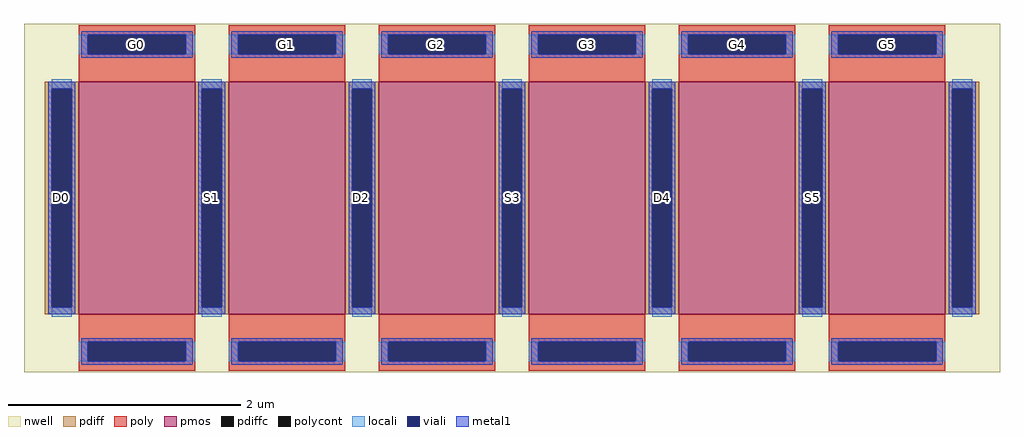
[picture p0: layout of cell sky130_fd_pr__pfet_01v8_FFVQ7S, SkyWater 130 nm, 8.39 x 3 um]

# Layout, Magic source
magic
tech sky130A
magscale 1 2
<< nwell >>
rect -839 -300 839 300
<< pmos >>
rect -745 -200 -545 200
rect -487 -200 -287 200
rect -229 -200 -29 200
rect 29 -200 229 200
rect 287 -200 487 200
rect 545 -200 745 200
<< pdiff >>
rect -803 188 -745 200
rect -803 -188 -791 188
rect -757 -188 -745 188
rect -803 -200 -745 -188
rect -545 188 -487 200
rect -545 -188 -533 188
rect -499 -188 -487 188
rect -545 -200 -487 -188
rect -287 188 -229 200
rect -287 -188 -275 188
rect -241 -188 -229 188
rect -287 -200 -229 -188
rect -29 188 29 200
rect -29 -188 -17 188
rect 17 -188 29 188
rect -29 -200 29 -188
rect 229 188 287 200
rect 229 -188 241 188
rect 275 -188 287 188
rect 229 -200 287 -188
rect 487 188 545 200
rect 487 -188 499 188
rect 533 -188 545 188
rect 487 -200 545 -188
rect 745 188 803 200
rect 745 -188 757 188
rect 791 -188 803 188
rect 745 -200 803 -188
<< pdiffc >>
rect -791 -188 -757 188
rect -533 -188 -499 188
rect -275 -188 -241 188
rect -17 -188 17 188
rect 241 -188 275 188
rect 499 -188 533 188
rect 757 -188 791 188
<< poly >>
rect -745 281 -545 297
rect -745 247 -729 281
rect -561 247 -545 281
rect -745 200 -545 247
rect -487 281 -287 297
rect -487 247 -471 281
rect -303 247 -287 281
rect -487 200 -287 247
rect -229 281 -29 297
rect -229 247 -213 281
rect -45 247 -29 281
rect -229 200 -29 247
rect 29 281 229 297
rect 29 247 45 281
rect 213 247 229 281
rect 29 200 229 247
rect 287 281 487 297
rect 287 247 303 281
rect 471 247 487 281
rect 287 200 487 247
rect 545 281 745 297
rect 545 247 561 281
rect 729 247 745 281
rect 545 200 745 247
rect -745 -247 -545 -200
rect -745 -281 -729 -247
rect -561 -281 -545 -247
rect -745 -297 -545 -281
rect -487 -247 -287 -200
rect -487 -281 -471 -247
rect -303 -281 -287 -247
rect -487 -297 -287 -281
rect -229 -247 -29 -200
rect -229 -281 -213 -247
rect -45 -281 -29 -247
rect -229 -297 -29 -281
rect 29 -247 229 -200
rect 29 -281 45 -247
rect 213 -281 229 -247
rect 29 -297 229 -281
rect 287 -247 487 -200
rect 287 -281 303 -247
rect 471 -281 487 -247
rect 287 -297 487 -281
rect 545 -247 745 -200
rect 545 -281 561 -247
rect 729 -281 745 -247
rect 545 -297 745 -281
<< polycont >>
rect -729 247 -561 281
rect -471 247 -303 281
rect -213 247 -45 281
rect 45 247 213 281
rect 303 247 471 281
rect 561 247 729 281
rect -729 -281 -561 -247
rect -471 -281 -303 -247
rect -213 -281 -45 -247
rect 45 -281 213 -247
rect 303 -281 471 -247
rect 561 -281 729 -247
<< locali >>
rect -745 247 -729 281
rect -561 247 -545 281
rect -487 247 -471 281
rect -303 247 -287 281
rect -229 247 -213 281
rect -45 247 -29 281
rect 29 247 45 281
rect 213 247 229 281
rect 287 247 303 281
rect 471 247 487 281
rect 545 247 561 281
rect 729 247 745 281
rect -791 188 -757 204
rect -791 -204 -757 -188
rect -533 188 -499 204
rect -533 -204 -499 -188
rect -275 188 -241 204
rect -275 -204 -241 -188
rect -17 188 17 204
rect -17 -204 17 -188
rect 241 188 275 204
rect 241 -204 275 -188
rect 499 188 533 204
rect 499 -204 533 -188
rect 757 188 791 204
rect 757 -204 791 -188
rect -745 -281 -729 -247
rect -561 -281 -545 -247
rect -487 -281 -471 -247
rect -303 -281 -287 -247
rect -229 -281 -213 -247
rect -45 -281 -29 -247
rect 29 -281 45 -247
rect 213 -281 229 -247
rect 287 -281 303 -247
rect 471 -281 487 -247
rect 545 -281 561 -247
rect 729 -281 745 -247
<< viali >>
rect -729 247 -561 281
rect -471 247 -303 281
rect -213 247 -45 281
rect 45 247 213 281
rect 303 247 471 281
rect 561 247 729 281
rect -791 -188 -757 188
rect -533 -188 -499 188
rect -275 -188 -241 188
rect -17 -188 17 188
rect 241 -188 275 188
rect 499 -188 533 188
rect 757 -188 791 188
rect -729 -281 -561 -247
rect -471 -281 -303 -247
rect -213 -281 -45 -247
rect 45 -281 213 -247
rect 303 -281 471 -247
rect 561 -281 729 -247
<< metal1 >>
rect -741 281 -549 287
rect -741 247 -729 281
rect -561 247 -549 281
rect -741 241 -549 247
rect -483 281 -291 287
rect -483 247 -471 281
rect -303 247 -291 281
rect -483 241 -291 247
rect -225 281 -33 287
rect -225 247 -213 281
rect -45 247 -33 281
rect -225 241 -33 247
rect 33 281 225 287
rect 33 247 45 281
rect 213 247 225 281
rect 33 241 225 247
rect 291 281 483 287
rect 291 247 303 281
rect 471 247 483 281
rect 291 241 483 247
rect 549 281 741 287
rect 549 247 561 281
rect 729 247 741 281
rect 549 241 741 247
rect -797 188 -751 200
rect -797 -188 -791 188
rect -757 -188 -751 188
rect -797 -200 -751 -188
rect -539 188 -493 200
rect -539 -188 -533 188
rect -499 -188 -493 188
rect -539 -200 -493 -188
rect -281 188 -235 200
rect -281 -188 -275 188
rect -241 -188 -235 188
rect -281 -200 -235 -188
rect -23 188 23 200
rect -23 -188 -17 188
rect 17 -188 23 188
rect -23 -200 23 -188
rect 235 188 281 200
rect 235 -188 241 188
rect 275 -188 281 188
rect 235 -200 281 -188
rect 493 188 539 200
rect 493 -188 499 188
rect 533 -188 539 188
rect 493 -200 539 -188
rect 751 188 797 200
rect 751 -188 757 188
rect 791 -188 797 188
rect 751 -200 797 -188
rect -741 -247 -549 -241
rect -741 -281 -729 -247
rect -561 -281 -549 -247
rect -741 -287 -549 -281
rect -483 -247 -291 -241
rect -483 -281 -471 -247
rect -303 -281 -291 -247
rect -483 -287 -291 -281
rect -225 -247 -33 -241
rect -225 -281 -213 -247
rect -45 -281 -33 -247
rect -225 -287 -33 -281
rect 33 -247 225 -241
rect 33 -281 45 -247
rect 213 -281 225 -247
rect 33 -287 225 -281
rect 291 -247 483 -241
rect 291 -281 303 -247
rect 471 -281 483 -247
rect 291 -287 483 -281
rect 549 -247 741 -241
rect 549 -281 561 -247
rect 729 -281 741 -247
rect 549 -287 741 -281
<< labels >>
rlabel pdiffc -774 0 -774 0 0 D0
port 1 nsew
rlabel polycont -645 264 -645 264 0 G0
port 2 nsew
rlabel pdiffc -516 0 -516 0 0 S1
port 3 nsew
rlabel polycont -387 264 -387 264 0 G1
port 4 nsew
rlabel pdiffc -258 0 -258 0 0 D2
port 5 nsew
rlabel polycont -129 264 -129 264 0 G2
port 6 nsew
rlabel pdiffc 0 0 0 0 0 S3
port 7 nsew
rlabel polycont 129 264 129 264 0 G3
port 8 nsew
rlabel pdiffc 258 0 258 0 0 D4
port 9 nsew
rlabel polycont 387 264 387 264 0 G4
port 10 nsew
rlabel pdiffc 516 0 516 0 0 S5
port 11 nsew
rlabel polycont 645 264 645 264 0 G5
port 12 nsew
<< properties >>
string gencell sky130_fd_pr__pfet_01v8
string library sky130
string parameters w 2 l 1 m 1 nf 6 diffcov 100 polycov 100 guard 0 glc 1 grc 1 gtc 1 gbc 1 tbcov 100 rlcov 100 topc 1 botc 1 poverlap 0 doverlap 1 lmin 0.15 wmin 0.42 class mosfet compatible {sky130_fd_pr__pfet_01v8  sky130_fd_pr__pfet_01v8_lvt sky130_fd_pr__pfet_01v8_hvt  sky130_fd_pr__pfet_g5v0d10v5} full_metal 0 conn_gates 0 viasrc 100 viadrn 100 viagate 100 viagb 0 viagr 0 viagl 0 viagt 0 doports 1
<< end >>
